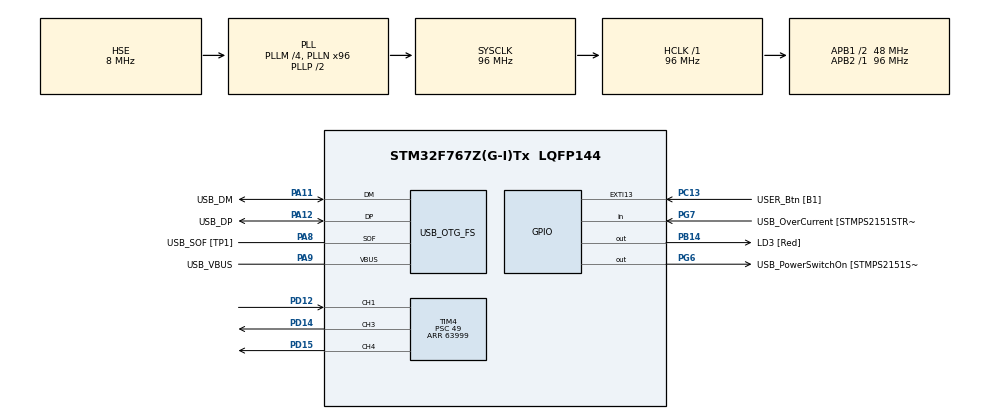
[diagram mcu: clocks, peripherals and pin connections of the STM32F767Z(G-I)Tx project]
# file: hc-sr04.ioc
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Mcu.Family=STM32F7
Mcu.Name=STM32F767Z(G-I)Tx
Mcu.Package=LQFP144
NVIC.OTG_FS_IRQn=true\:0\:0\:false\:true\:true\:2\:false
NVIC.PriorityGroup=NVIC_PRIORITYGROUP_4
NVIC.TIM4_IRQn=true\:0\:0\:false\:true\:true\:1\:true
PA1.GPIO_Label=RMII_REF_CLK [LAN8742A-CZ-TR_REFCLK0]
PA1.Signal=ETH_REF_CLK
PA10.GPIO_Label=USB_ID
PA10.Signal=USB_OTG_FS_ID
PA11.GPIO_Label=USB_DM
PA11.Mode=Device_Only
PA11.Signal=USB_OTG_FS_DM
PA12.GPIO_Label=USB_DP
PA12.Mode=Device_Only
PA12.Signal=USB_OTG_FS_DP
PA13.GPIO_Label=TMS
PA13.Mode=Serial_Wire
PA13.Signal=SYS_JTMS-SWDIO
PA14.GPIO_Label=TCK
PA14.Mode=Serial_Wire
PA14.Signal=SYS_JTCK-SWCLK
PA2.GPIO_Label=RMII_MDIO [LAN8742A-CZ-TR_MDIO]
PA2.Signal=ETH_MDIO
PA7.GPIO_Label=RMII_CRS_DV [LAN8742A-CZ-TR_CRS_DV]
PA7.Signal=ETH_CRS_DV
PA8.GPIO_Label=USB_SOF [TP1]
PA8.Mode=Activate_SOF_FS
PA8.Signal=USB_OTG_FS_SOF
PA9.GPIO_Label=USB_VBUS
PA9.Mode=Activate_VBUS
PA9.Signal=USB_OTG_FS_VBUS
PB13.GPIO_Label=RMII_TXD1 [LAN8742A-CZ-TR_TXD1]
PB13.Signal=ETH_TXD1
PB14.GPIO_Label=LD3 [Red]
PB14.Signal=GPIO_Output
PB3.GPIO_Label=SWO
PB3.Signal=SYS_JTDO-SWO
PB7.Signal=S_TIM4_CH2
PC1.GPIO_Label=RMII_MDC [LAN8742A-CZ-TR_MDC]
PC1.Signal=ETH_MDC
PC13.GPIO_Label=USER_Btn [B1]
PC13.Signal=GPXTI13
PC14/OSC32_IN.Mode=LSE-External-Oscillator
PC14/OSC32_IN.Signal=RCC_OSC32_IN
PC15/OSC32_OUT.Mode=LSE-External-Oscillator
PC15/OSC32_OUT.Signal=RCC_OSC32_OUT
PC4.GPIO_Label=RMII_RXD0 [LAN8742A-CZ-TR_RXD0]
PC4.Signal=ETH_RXD0
PC5.GPIO_Label=RMII_RXD1 [LAN8742A-CZ-TR_RXD1]
PC5.Signal=ETH_RXD1
PD12.Signal=S_TIM4_CH1
PD14.Signal=S_TIM4_CH3
PD15.Signal=S_TIM4_CH4
PD8.GPIO_Label=STLK_RX [STM32F103CBT6_PA3]
PD8.Signal=USART3_TX
PD9.GPIO_Label=STLK_TX [STM32F103CBT6_PA2]
PD9.Signal=USART3_RX
PG11.GPIO_Label=RMII_TX_EN [LAN8742A-CZ-TR_TXEN]
PG11.Signal=ETH_TX_EN
PG13.GPIO_Label=RMII_TXD0 [LAN8742A-CZ-TR_TXD0]
PG13.Signal=ETH_TXD0
PG6.GPIO_Label=USB_PowerSwitchOn [STMPS2151STR_EN]
PG6.Signal=GPIO_Output
PG7.GPIO_Label=USB_OverCurrent [STMPS2151STR_FAULT]
PG7.Signal=GPIO_Input
PH0/OSC_IN.GPIO_Label=MCO [STM32F103CBT6_PA8]
PH0/OSC_IN.Mode=HSE-External-Clock-Source
PH0/OSC_IN.Signal=RCC_OSC_IN
PH1/OSC_OUT.Mode=HSE-External-Clock-Source
PH1/OSC_OUT.Signal=RCC_OSC_OUT
ProjectManager.HeapSize=0x200
ProjectManager.StackSize=0x400
ProjectManager.TargetToolchain=Makefile
RCC.48MHZClocksFreq_Value=24000000
RCC.AHBFreq_Value=96000000
RCC.APB1CLKDivider=RCC_HCLK_DIV2
RCC.APB1Freq_Value=48000000
RCC.APB1TimFreq_Value=96000000
RCC.APB2Freq_Value=96000000
RCC.APB2TimFreq_Value=96000000
RCC.CortexFreq_Value=96000000
RCC.HCLKFreq_Value=96000000
RCC.HSE_VALUE=8000000
RCC.HSI_VALUE=16000000
RCC.PLLM=4
RCC.PLLMUL=RCC_PLL_MUL9
RCC.PLLN=96
RCC.PLLQ=4
RCC.PRESCALERUSB=RCC_USBCLKSOURCE_PLL_DIV1_5
RCC.SYSCLKFreq_VALUE=96000000
RCC.SYSCLKSource=RCC_SYSCLKSOURCE_PLLCLK
RCC.SYSCLKSourceVirtual=RCC_SYSCLKSOURCE_PLLCLK
RCC.USBFreq_Value=48000000
RCC.VCOOutputFreq_Value=192000000
SH.S_TIM4_CH1.0=TIM4_CH1,Input_Capture1_from_TI1
SH.S_TIM4_CH2.0=TIM4_CH2
SH.S_TIM4_CH3.0=TIM4_CH3,PWM Generation3 CH3
SH.S_TIM4_CH4.0=TIM4_CH4,PWM Generation4 CH4
TIM4.Channel-Input_Capture1_from_TI1=TIM_CHANNEL_1
TIM4.Channel-PWM\ Generation3\ CH3=TIM_CHANNEL_3
TIM4.Channel-PWM\ Generation4\ CH4=TIM_CHANNEL_4
TIM4.ICPolarity_CH1=TIM_INPUTCHANNELPOLARITY_BOTHEDGE
TIM4.OCPolarity_3=TIM_OCPOLARITY_HIGH
TIM4.Period=63999
TIM4.Prescaler=49
TIM4.Pulse-PWM\ Generation3\ CH3=19200
TIM4.Pulse-PWM\ Generation4\ CH4=19200
USB_DEVICE.CLASS_NAME_FS=CDC
USB_DEVICE.VirtualMode-CDC_FS=Cdc
USB_DEVICE.VirtualModeFS=Cdc_FS
USB_OTG_FS.VirtualMode=Device_Only
VP_TIM4_VS_ClockSourceINT.Mode=Internal
VP_USB_DEVICE_VS_USB_DEVICE_CDC_FS.Mode=CDC_FS
board=NUCLEO-F767ZI

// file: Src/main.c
/**
  ******************************************************************************
  * File Name          : main.c
  * Description        : Main program body
  ******************************************************************************
  * This notice applies to any and all portions of this file
  * that are not between comment pairs USER CODE BEGIN and
  * USER CODE END. Other portions of this file, whether
  * inserted by the user or by software development tools
  * are owned by their respective copyright owners.
  *
  * Copyright (c) 2018 STMicroelectronics International N.V.
  * All rights reserved.
  *
  * Redistribution and use in source and binary forms, with or without
  * modification, are permitted, provided that the following conditions are met:
  *
  * 1. Redistribution of source code must retain the above copyright notice,
  *    this list of conditions and the following disclaimer.
  * 2. Redistributions in binary form must reproduce the above copyright notice,
  *    this list of conditions and the following disclaimer in the documentation
  *    and/or other materials provided with the distribution.
  * 3. Neither the name of STMicroelectronics nor the names of other
  *    contributors to this software may be used to endorse or promote products
  *    derived from this software without specific written permission.
  * 4. This software, including modifications and/or derivative works of this
  *    software, must execute solely and exclusively on microcontroller or
  *    microprocessor devices manufactured by or for STMicroelectronics.
  * 5. Redistribution and use of this software other than as permitted under
  *    this license is void and will automatically terminate your rights under
  *    this license.
  *
  * THIS SOFTWARE IS PROVIDED BY STMICROELECTRONICS AND CONTRIBUTORS "AS IS"
  * AND ANY EXPRESS, IMPLIED OR STATUTORY WARRANTIES, INCLUDING, BUT NOT
  * LIMITED TO, THE IMPLIED WARRANTIES OF MERCHANTABILITY, FITNESS FOR A
  * PARTICULAR PURPOSE AND NON-INFRINGEMENT OF THIRD PARTY INTELLECTUAL PROPERTY
  * RIGHTS ARE DISCLAIMED TO THE FULLEST EXTENT PERMITTED BY LAW. IN NO EVENT
  * SHALL STMICROELECTRONICS OR CONTRIBUTORS BE LIABLE FOR ANY DIRECT, INDIRECT,
  * INCIDENTAL, SPECIAL, EXEMPLARY, OR CONSEQUENTIAL DAMAGES (INCLUDING, BUT NOT
  * LIMITED TO, PROCUREMENT OF SUBSTITUTE GOODS OR SERVICES; LOSS OF USE, DATA,
  * OR PROFITS; OR BUSINESS INTERRUPTION) HOWEVER CAUSED AND ON ANY THEORY OF
  * LIABILITY, WHETHER IN CONTRACT, STRICT LIABILITY, OR TORT (INCLUDING
  * NEGLIGENCE OR OTHERWISE) ARISING IN ANY WAY OUT OF THE USE OF THIS SOFTWARE,
  * EVEN IF ADVISED OF THE POSSIBILITY OF SUCH DAMAGE.
  *
  ******************************************************************************
  */
#include "main.h"
#include "stm32f7xx_hal.h"
#include "usb_device.h"

/* USER CODE BEGIN Includes */
#include "log.h"
/* USER CODE END Includes */

TIM_HandleTypeDef htim4;

/* USER CODE BEGIN PV */
/* Private variables ---------------------------------------------------------*/
uint16_t sensorValues[2];
/* USER CODE END PV */

void SystemClock_Config(void);
static void MX_GPIO_Init(void);
static void MX_TIM4_Init(void);
static void MX_NVIC_Init(void);

void HAL_TIM_MspPostInit(TIM_HandleTypeDef *htim);

/* USER CODE BEGIN PFP */
/* Private function prototypes -----------------------------------------------*/

/* USER CODE END PFP */

/* USER CODE BEGIN 0 */
uint32_t previous = 0;
/* called just by naming convention */
void HAL_TIM_IC_CaptureCallback(TIM_HandleTypeDef *htim) {
  if (htim->Channel != HAL_TIM_ACTIVE_CHANNEL_1) {
    return;
  }

  uint32_t current = __HAL_TIM_GET_COUNTER(htim);

  if (current <= previous) {
    previous = current;
    return;
  }

  uint32_t diff = current - previous;
  uint32_t hclk = HAL_RCC_GetHCLKFreq(); // 96MHz
  float frequency = hclk / (htim->Instance->PSC + 1); // PSC at 49 // so frequency = 1,920,0000
  float period = diff * 1000 / frequency;
  float distance = period * 340 / 2 / 1000;
  log_info("previous=%u current=%u period=%.2fms distance=%.2fm", previous, current, period, distance);

  previous = current;
}
/* USER CODE END 0 */

int main(void)
{

  /* MCU Configuration----------------------------------------------------------*/

  /* Reset of all peripherals, Initializes the Flash interface and the Systick. */
  HAL_Init();

  /* Configure the system clock */
  SystemClock_Config();

  /* Initialize all configured peripherals */
  MX_GPIO_Init();
  MX_TIM4_Init();
  MX_USB_DEVICE_Init();

  /* Initialize interrupts */
  MX_NVIC_Init();

  /* USER CODE BEGIN 2 */
  HAL_TIM_PWM_Start(&htim4, TIM_CHANNEL_3);
  HAL_TIM_PWM_Start(&htim4, TIM_CHANNEL_4);
  HAL_TIM_IC_Start_IT(&htim4, TIM_CHANNEL_1);
  /* USER CODE END 2 */

  /* Infinite loop */
  while (1)
  {

  }

}

/** System Clock Configuration
*/
void SystemClock_Config(void)
{

  RCC_OscInitTypeDef RCC_OscInitStruct;
  RCC_ClkInitTypeDef RCC_ClkInitStruct;
  RCC_PeriphCLKInitTypeDef PeriphClkInitStruct;

    /**Configure the main internal regulator output voltage
    */
  __HAL_RCC_PWR_CLK_ENABLE();

  __HAL_PWR_VOLTAGESCALING_CONFIG(PWR_REGULATOR_VOLTAGE_SCALE3);

    /**Initializes the CPU, AHB and APB busses clocks
    */
  RCC_OscInitStruct.OscillatorType = RCC_OSCILLATORTYPE_HSE;
  RCC_OscInitStruct.HSEState = RCC_HSE_BYPASS;
  RCC_OscInitStruct.PLL.PLLState = RCC_PLL_ON;
  RCC_OscInitStruct.PLL.PLLSource = RCC_PLLSOURCE_HSE;
  RCC_OscInitStruct.PLL.PLLM = 4;
  RCC_OscInitStruct.PLL.PLLN = 96;
  RCC_OscInitStruct.PLL.PLLP = RCC_PLLP_DIV2;
  RCC_OscInitStruct.PLL.PLLQ = 4;
  if (HAL_RCC_OscConfig(&RCC_OscInitStruct) != HAL_OK)
  {
    _Error_Handler(__FILE__, __LINE__);
  }

    /**Activate the Over-Drive mode
    */
  if (HAL_PWREx_EnableOverDrive() != HAL_OK)
  {
    _Error_Handler(__FILE__, __LINE__);
  }

    /**Initializes the CPU, AHB and APB busses clocks
    */
  RCC_ClkInitStruct.ClockType = RCC_CLOCKTYPE_HCLK|RCC_CLOCKTYPE_SYSCLK
                              |RCC_CLOCKTYPE_PCLK1|RCC_CLOCKTYPE_PCLK2;
  RCC_ClkInitStruct.SYSCLKSource = RCC_SYSCLKSOURCE_PLLCLK;
  RCC_ClkInitStruct.AHBCLKDivider = RCC_SYSCLK_DIV1;
  RCC_ClkInitStruct.APB1CLKDivider = RCC_HCLK_DIV2;
  RCC_ClkInitStruct.APB2CLKDivider = RCC_HCLK_DIV1;

  if (HAL_RCC_ClockConfig(&RCC_ClkInitStruct, FLASH_LATENCY_3) != HAL_OK)
  {
    _Error_Handler(__FILE__, __LINE__);
  }

  PeriphClkInitStruct.PeriphClockSelection = RCC_PERIPHCLK_CLK48;
  PeriphClkInitStruct.Clk48ClockSelection = RCC_CLK48SOURCE_PLL;
  if (HAL_RCCEx_PeriphCLKConfig(&PeriphClkInitStruct) != HAL_OK)
  {
    _Error_Handler(__FILE__, __LINE__);
  }

    /**Configure the Systick interrupt time
    */
  HAL_SYSTICK_Config(HAL_RCC_GetHCLKFreq()/1000);

    /**Configure the Systick
    */
  HAL_SYSTICK_CLKSourceConfig(SYSTICK_CLKSOURCE_HCLK);

  /* SysTick_IRQn interrupt configuration */
  HAL_NVIC_SetPriority(SysTick_IRQn, 0, 0);
}

/** NVIC Configuration
*/
static void MX_NVIC_Init(void)
{
  /* TIM4_IRQn interrupt configuration */
  HAL_NVIC_SetPriority(TIM4_IRQn, 0, 0);
  HAL_NVIC_EnableIRQ(TIM4_IRQn);
  /* OTG_FS_IRQn interrupt configuration */
  HAL_NVIC_SetPriority(OTG_FS_IRQn, 0, 0);
  HAL_NVIC_EnableIRQ(OTG_FS_IRQn);
}

/* TIM4 init function */
static void MX_TIM4_Init(void)
{

  TIM_ClockConfigTypeDef sClockSourceConfig;
  TIM_MasterConfigTypeDef sMasterConfig;
  TIM_IC_InitTypeDef sConfigIC;
  TIM_OC_InitTypeDef sConfigOC;

  htim4.Instance = TIM4;
  htim4.Init.Prescaler = 49;
  htim4.Init.CounterMode = TIM_COUNTERMODE_UP;
  htim4.Init.Period = 63999;
  htim4.Init.ClockDivision = TIM_CLOCKDIVISION_DIV1;
  htim4.Init.AutoReloadPreload = TIM_AUTORELOAD_PRELOAD_DISABLE;
  if (HAL_TIM_Base_Init(&htim4) != HAL_OK)
  {
    _Error_Handler(__FILE__, __LINE__);
  }

  sClockSourceConfig.ClockSource = TIM_CLOCKSOURCE_INTERNAL;
  if (HAL_TIM_ConfigClockSource(&htim4, &sClockSourceConfig) != HAL_OK)
  {
    _Error_Handler(__FILE__, __LINE__);
  }

  if (HAL_TIM_IC_Init(&htim4) != HAL_OK)
  {
    _Error_Handler(__FILE__, __LINE__);
  }

  if (HAL_TIM_PWM_Init(&htim4) != HAL_OK)
  {
    _Error_Handler(__FILE__, __LINE__);
  }

  sMasterConfig.MasterOutputTrigger = TIM_TRGO_RESET;
  sMasterConfig.MasterSlaveMode = TIM_MASTERSLAVEMODE_DISABLE;
  if (HAL_TIMEx_MasterConfigSynchronization(&htim4, &sMasterConfig) != HAL_OK)
  {
    _Error_Handler(__FILE__, __LINE__);
  }

  sConfigIC.ICPolarity = TIM_INPUTCHANNELPOLARITY_BOTHEDGE;
  sConfigIC.ICSelection = TIM_ICSELECTION_DIRECTTI;
  sConfigIC.ICPrescaler = TIM_ICPSC_DIV1;
  sConfigIC.ICFilter = 0;
  if (HAL_TIM_IC_ConfigChannel(&htim4, &sConfigIC, TIM_CHANNEL_1) != HAL_OK)
  {
    _Error_Handler(__FILE__, __LINE__);
  }

  sConfigOC.OCMode = TIM_OCMODE_PWM1;
  sConfigOC.Pulse = 19200;
  sConfigOC.OCPolarity = TIM_OCPOLARITY_HIGH;
  sConfigOC.OCFastMode = TIM_OCFAST_DISABLE;
  if (HAL_TIM_PWM_ConfigChannel(&htim4, &sConfigOC, TIM_CHANNEL_3) != HAL_OK)
  {
    _Error_Handler(__FILE__, __LINE__);
  }

  if (HAL_TIM_PWM_ConfigChannel(&htim4, &sConfigOC, TIM_CHANNEL_4) != HAL_OK)
  {
    _Error_Handler(__FILE__, __LINE__);
  }

  HAL_TIM_MspPostInit(&htim4);

}

/** Configure pins as
        * Analog
        * Input
        * Output
        * EVENT_OUT
        * EXTI
     PC1   ------> ETH_MDC
     PA1   ------> ETH_REF_CLK
     PA2   ------> ETH_MDIO
     PA7   ------> ETH_CRS_DV
     PC4   ------> ETH_RXD0
     PC5   ------> ETH_RXD1
     PB13   ------> ETH_TXD1
     PD8   ------> USART3_TX
     PD9   ------> USART3_RX
     PG11   ------> ETH_TX_EN
     PG13   ------> ETH_TXD0
*/
static void MX_GPIO_Init(void)
{

  GPIO_InitTypeDef GPIO_InitStruct;

  /* GPIO Ports Clock Enable */
  __HAL_RCC_GPIOC_CLK_ENABLE();
  __HAL_RCC_GPIOH_CLK_ENABLE();
  __HAL_RCC_GPIOA_CLK_ENABLE();
  __HAL_RCC_GPIOB_CLK_ENABLE();
  __HAL_RCC_GPIOD_CLK_ENABLE();
  __HAL_RCC_GPIOG_CLK_ENABLE();

  /*Configure GPIO pin Output Level */
  HAL_GPIO_WritePin(LD3_GPIO_Port, LD3_Pin, GPIO_PIN_RESET);

  /*Configure GPIO pin Output Level */
  HAL_GPIO_WritePin(USB_PowerSwitchOn_GPIO_Port, USB_PowerSwitchOn_Pin, GPIO_PIN_RESET);

  /*Configure GPIO pin : USER_Btn_Pin */
  GPIO_InitStruct.Pin = USER_Btn_Pin;
  GPIO_InitStruct.Mode = GPIO_MODE_IT_RISING;
  GPIO_InitStruct.Pull = GPIO_NOPULL;
  HAL_GPIO_Init(USER_Btn_GPIO_Port, &GPIO_InitStruct);

  /*Configure GPIO pins : RMII_MDC_Pin RMII_RXD0_Pin RMII_RXD1_Pin */
  GPIO_InitStruct.Pin = RMII_MDC_Pin|RMII_RXD0_Pin|RMII_RXD1_Pin;
  GPIO_InitStruct.Mode = GPIO_MODE_AF_PP;
  GPIO_InitStruct.Pull = GPIO_NOPULL;
  GPIO_InitStruct.Speed = GPIO_SPEED_FREQ_VERY_HIGH;
  GPIO_InitStruct.Alternate = GPIO_AF11_ETH;
  HAL_GPIO_Init(GPIOC, &GPIO_InitStruct);

  /*Configure GPIO pins : RMII_REF_CLK_Pin RMII_MDIO_Pin RMII_CRS_DV_Pin */
  GPIO_InitStruct.Pin = RMII_REF_CLK_Pin|RMII_MDIO_Pin|RMII_CRS_DV_Pin;
  GPIO_InitStruct.Mode = GPIO_MODE_AF_PP;
  GPIO_InitStruct.Pull = GPIO_NOPULL;
  GPIO_InitStruct.Speed = GPIO_SPEED_FREQ_VERY_HIGH;
  GPIO_InitStruct.Alternate = GPIO_AF11_ETH;
  HAL_GPIO_Init(GPIOA, &GPIO_InitStruct);

  /*Configure GPIO pin : RMII_TXD1_Pin */
  GPIO_InitStruct.Pin = RMII_TXD1_Pin;
  GPIO_InitStruct.Mode = GPIO_MODE_AF_PP;
  GPIO_InitStruct.Pull = GPIO_NOPULL;
  GPIO_InitStruct.Speed = GPIO_SPEED_FREQ_VERY_HIGH;
  GPIO_InitStruct.Alternate = GPIO_AF11_ETH;
  HAL_GPIO_Init(RMII_TXD1_GPIO_Port, &GPIO_InitStruct);

  /*Configure GPIO pin : LD3_Pin */
  GPIO_InitStruct.Pin = LD3_Pin;
  GPIO_InitStruct.Mode = GPIO_MODE_OUTPUT_PP;
  GPIO_InitStruct.Pull = GPIO_NOPULL;
  GPIO_InitStruct.Speed = GPIO_SPEED_FREQ_LOW;
  HAL_GPIO_Init(LD3_GPIO_Port, &GPIO_InitStruct);

  /*Configure GPIO pins : STLK_RX_Pin STLK_TX_Pin */
  GPIO_InitStruct.Pin = STLK_RX_Pin|STLK_TX_Pin;
  GPIO_InitStruct.Mode = GPIO_MODE_AF_PP;
  GPIO_InitStruct.Pull = GPIO_NOPULL;
  GPIO_InitStruct.Speed = GPIO_SPEED_FREQ_VERY_HIGH;
  GPIO_InitStruct.Alternate = GPIO_AF7_USART3;
  HAL_GPIO_Init(GPIOD, &GPIO_InitStruct);

  /*Configure GPIO pin : USB_PowerSwitchOn_Pin */
  GPIO_InitStruct.Pin = USB_PowerSwitchOn_Pin;
  GPIO_InitStruct.Mode = GPIO_MODE_OUTPUT_PP;
  GPIO_InitStruct.Pull = GPIO_NOPULL;
  GPIO_InitStruct.Speed = GPIO_SPEED_FREQ_LOW;
  HAL_GPIO_Init(USB_PowerSwitchOn_GPIO_Port, &GPIO_InitStruct);

  /*Configure GPIO pin : USB_OverCurrent_Pin */
  GPIO_InitStruct.Pin = USB_OverCurrent_Pin;
  GPIO_InitStruct.Mode = GPIO_MODE_INPUT;
  GPIO_InitStruct.Pull = GPIO_NOPULL;
  HAL_GPIO_Init(USB_OverCurrent_GPIO_Port, &GPIO_InitStruct);

  /*Configure GPIO pins : RMII_TX_EN_Pin RMII_TXD0_Pin */
  GPIO_InitStruct.Pin = RMII_TX_EN_Pin|RMII_TXD0_Pin;
  GPIO_InitStruct.Mode = GPIO_MODE_AF_PP;
  GPIO_InitStruct.Pull = GPIO_NOPULL;
  GPIO_InitStruct.Speed = GPIO_SPEED_FREQ_VERY_HIGH;
  GPIO_InitStruct.Alternate = GPIO_AF11_ETH;
  HAL_GPIO_Init(GPIOG, &GPIO_InitStruct);

}

void _Error_Handler(char * file, int line)
{
  while(1)
  {
  }
}

/************************ (C) COPYRIGHT STMicroelectronics *****END OF FILE****/
